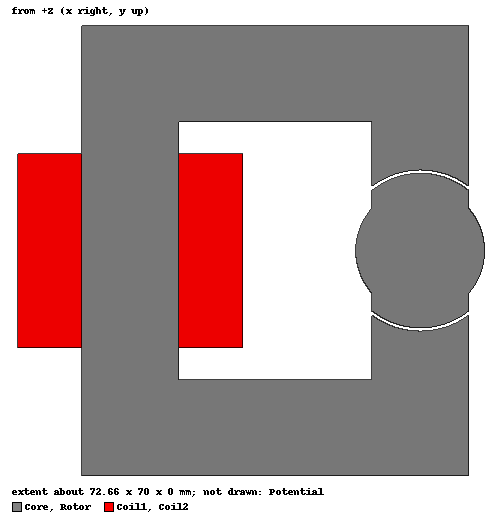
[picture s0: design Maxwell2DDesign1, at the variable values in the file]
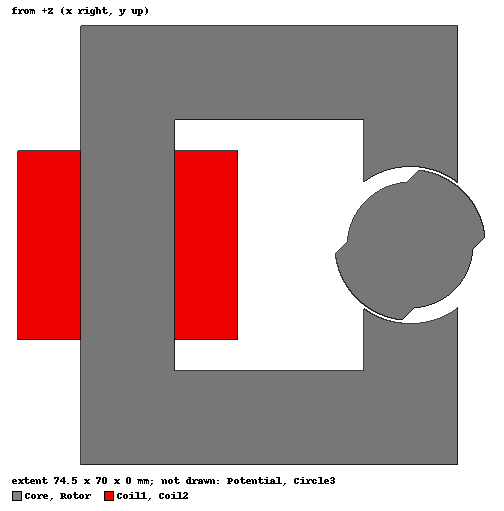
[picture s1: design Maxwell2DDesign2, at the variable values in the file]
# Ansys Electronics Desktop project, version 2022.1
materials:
  vacuum: permittivity=1
  copper: permeability=0.999991 conductivity=58000000
  steel_linear: permittivity=1 permeability=667.75 conductivity=2000000 lande_g_factor=2
  steel_1011: permittivity=1 permeability{HUnit=A_per_meter BUnit=tesla curve (0, 0) (100, 0.08391194) (200, 0.16782388) (300, 0.251735819) (400, 0.335647759) (500, 0.419559699) (600, 0.503471639) (700, 0.587383578) (800, 0.671295518) (900, 0.755207458) (1000, 0.839119398) (1100, 0.923031338) (1200, 1.006943277) (1300, 1.090855217) (1400, 1.174767157) (1500, 1.258679097) (1600, 1.342591036) (1700, 1.426502976) (1800, 1.510414916) (1900, 1.594326856) (2000, 1.678238796) (2100, 1.762150735) (2200, 1.846062675) (2300, 1.929974615) (2400, 2.013886555) (2500, 2.097798494) (2600, 2.181710434) (2700, 2.265622374) (2800, 2.349534314) (2900, 2.433446254) (3000, 2.517358193) (3100, 2.601270133) (3200, 2.685182073) (3300, 2.769094013) (3400, 2.853005952) (3500, 2.936917892) (3600, 3.020829832)} conductivity=2000000 lande_g_factor=2

design Maxwell2DDesign1 (Maxwell 2D, Magnetostatic, XY geometry, model units mm)
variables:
  teta = 0deg
  angle = 1
  rotationAngle = -180deg
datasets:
  ds1: units ms, A: (0.01, 750) (0.02, 750) (0.020001, 0) (0.03, 0) (0.030001, 750) (0.04, 750) (0.040001, 0) (0.05, 0)
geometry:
  Core [steel_linear] = rectangle(corner=(0mm, 0mm, 0mm), x_size=60mm, y_size=70mm)
  Rectangle2 = rectangle(corner=(15mm, 15mm, 0mm), x_size=30mm, y_size=40mm)
  Circle1 = circle(normal=Z, centre=(52.5mm, 35mm, 0mm), radius=12.5mm)
  Circle2 = circle(normal=Z, centre=(52.5mm, 35mm, 0mm), radius=12mm)
  Rotor [steel_linear] = circle(normal=Z, centre=(52.5mm, 35mm, 0mm), radius=10mm)
  Core.subtract(Rectangle2)
  Core.subtract(Circle1)
  Rectangle3 = rectangle(corner=(45mm, 25.63mm, 0mm), x_size=15mm, y_size=18.73mm)
  Rectangle4 = rectangle(corner=(45mm, 25.63mm, 0mm), x_size=-5mm, y_size=18.73mm)
  Circle2.subtract(Rectangle4)
  Rectangle5 = rectangle(corner=(60mm, 25.63mm, 0mm), x_size=5mm, y_size=18.73mm)
  Circle2.subtract(Rectangle5)
  Rotor.unite(Rectangle3, Circle2)
  Coil1 [copper] = rectangle(corner=(0mm, 20mm, 0mm), x_size=-10mm, y_size=30mm)
  Coil2 [copper] = rectangle(corner=(15mm, 20mm, 0mm), x_size=10mm, y_size=30mm)
  [Core, Rotor, Coil1, Coil2].move(-52.5mm, -35.000002mm, 0mm)
  Potential [vacuum] = rectangle(corner=(-100mm, -70mm, 0mm), x_size=150mm, y_size=140mm)
  Rotor.rotate(axis=Z, angle=rotationAngle)
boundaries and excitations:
  VectorPotential: Vector Potential Edges=Potential.edge(all 4) Value=0
  CurrentPos: Current Objects=Coil1 Current=750A IsPositive=true
  CurrentNeg: Current Objects=Coil2 Current=750A IsPositive=false
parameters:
  Torque1: Torque Coordinate_System=Global Is_Positive=true Objects=Rotor
  Matrix1: Matrix CurrentPos: NumberOfTurns=250 ReturnPath=CurrentNeg
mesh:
  initial mesh: MeshMethod=AnsoftTAU
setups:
  Setup1: Magnetostatic MaximumPasses=10 MinimumPasses=2 MinimumConvergedPasses=1 PercentRefinement=30 PercentError=1 NonLinearResidual=1e-06
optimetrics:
  ParametricSetup1: Parametric Sim._Setups=[Setup1]
    sweep rotationAngle: LIN -180deg 180deg 1deg
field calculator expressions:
  Wmag = B_Vector | H_Vector | Dot | EnterVolume(AllObjects) | VolumeValue | Integrate
  Wmag2 = Wmag | 50 | /
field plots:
  B_Vector1: B over Core, Rotor, Coil1, Coil2, Potential on Setup1 : LastAdaptive
  Mag_B1: B over Core, Rotor, Coil1, Coil2 on Setup1 : LastAdaptive
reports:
  InductanceVsRotation: Matrix1.L(CurrentPos,CurrentPos)/50 vs rotationAngle on Setup1 : LastAdaptive
  TorqueVsRotation: Torque1.Torque/50 vs rotationAngle on Setup1 : LastAdaptive
  EnergyVsRotation: Wmag2 vs rotationAngle on Setup1 : LastAdaptive

design Maxwell2DDesign2 (Maxwell 2D, Transient, XY geometry, model units mm)
options: ModelDepth=1meter
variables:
  teta = 0deg
  angle = 1
  rotationAngle = -180deg
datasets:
  ds1: units ms, A: (0, 0) (1e-06, 750) (0.01, 750) (0.010001, 0) (0.02, 0) (0.020001, 750) (0.03, 750) (0.030001, 0) (0.04, 0) (0.040001, 750)
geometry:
  Core [steel_linear] = rectangle(corner=(0mm, 0mm, 0mm), x_size=60mm, y_size=70mm)
  Rectangle2 = rectangle(corner=(15mm, 15mm, 0mm), x_size=30mm, y_size=40mm)
  Circle1 = circle(normal=Z, centre=(52.5mm, 35mm, 0mm), radius=12.5mm)
  Circle2 = circle(normal=Z, centre=(52.5mm, 35mm, 0mm), radius=12mm)
  Rotor [steel_linear] = circle(normal=Z, centre=(52.5mm, 35mm, 0mm), radius=10mm)
  Core.subtract(Rectangle2)
  Core.subtract(Circle1)
  Rectangle3 = rectangle(corner=(45mm, 25.63mm, 0mm), x_size=15mm, y_size=18.73mm)
  Rectangle4 = rectangle(corner=(45mm, 25.63mm, 0mm), x_size=-5mm, y_size=18.73mm)
  Circle2.subtract(Rectangle4)
  Rectangle5 = rectangle(corner=(60mm, 25.63mm, 0mm), x_size=5mm, y_size=18.73mm)
  Circle2.subtract(Rectangle5)
  Rotor.unite(Rectangle3, Circle2)
  Coil1 [copper] = rectangle(corner=(0mm, 20mm, 0mm), x_size=-10mm, y_size=30mm)
  Coil2 [copper] = rectangle(corner=(15mm, 20mm, 0mm), x_size=10mm, y_size=30mm)
  [Core, Rotor, Coil1, Coil2].move(-52.5mm, -35.000002mm, 0mm)
  Potential [vacuum] = rectangle(corner=(-100mm, -70mm, 0mm), x_size=150mm, y_size=140mm)
  Circle3 [vacuum] = circle(normal=Z, centre=(0mm, 0mm, 0mm), radius=12.25mm)
  Rotor.rotate(axis=Z, angle=-45deg)
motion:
  MotionSetup1: Band Move_Type=Rotate Coordinate_System=Global Axis=Z Is_Positive=true InitPos=0deg Angular_Velocity=0rpm Moment_of_Inertia=0.005 Damping=0 Load_Torque=0NewtonMeter Objects=Circle3
  Moving1: Moving Objects=Rotor
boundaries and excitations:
  VectorPotential: Vector Potential Edges=Potential.edge(all 4) Value=0
  Coil1: Coil Objects=Coil1 Conductor_number=250 Winding=Winding1 PolarityType=Positive
  Coil2: Coil Objects=Coil2 Conductor_number=250 Winding=Winding1 PolarityType=Negative
  Winding1: Winding Group Type=Current IsSolid=false Current=if(Position<pi/4,3,0) ParallelBranchesNum=1
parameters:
  Torque1: Torque Coordinate_System=Global Is_Positive=true Objects=Rotor
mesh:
  CylindricalGap1: CylindricalGap Objects=Circle3
  initial mesh: MeshMethod=AnsoftTAU
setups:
  Setup1: Transient NonlinearSolverResidual=1e-06 StopTime=2000ms TimeStep=10ms SaveFieldsType="Every N Steps" N_Steps=1 Steps_From=0s Steps_To=2000ms NumberSolveSteps=1 RangeStart=0s RangeEnd=0.1s InitialTimeStep=0.002s MinTimeStep=0.001s MaxTimeStep=0.003s TimeStepErrTolerance=0.0001
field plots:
  B_Vector1: B over Core, Rotor, Coil1, Coil2, Circle3 on Setup1 : Transient at Time=0s
  Mag_B1: B over Coil1, Coil2, Core, Rotor on Setup1 : Transient at Time=0s
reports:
  Torque Plot 1: Torque1.Torque vs Time on Setup1 : Transient
  Winding Plot 1: InputCurrent(Winding1) vs Time on Setup1 : Transient
  Position Plot 1: Moving1.Position vs Time on Setup1 : Transient
